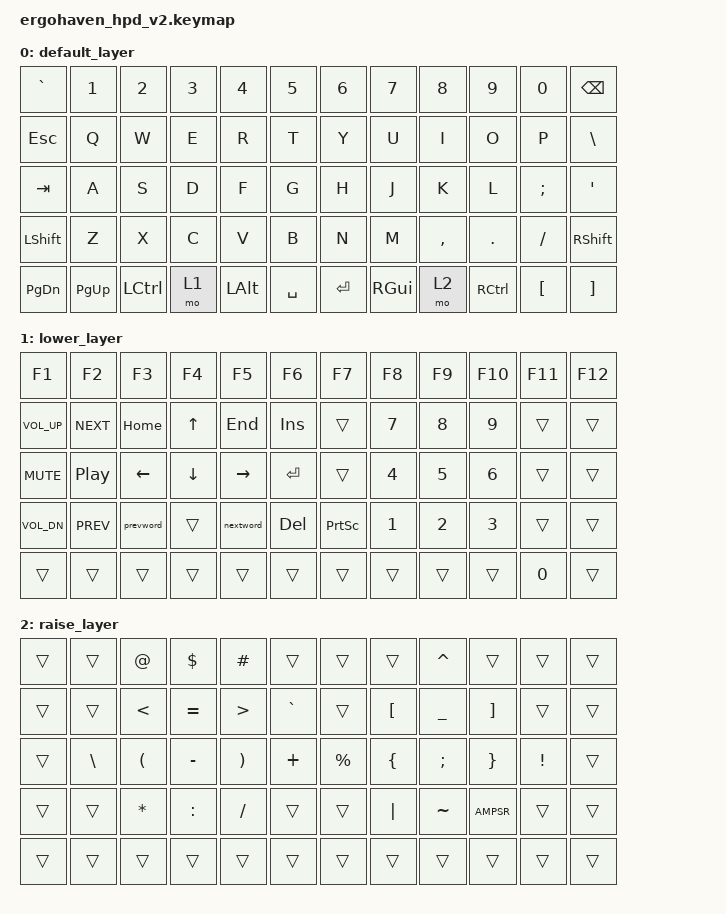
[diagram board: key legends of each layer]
#include <dt-bindings/zmk/keys.h>
#include <behaviors.dtsi>

/ {
    // --- Кастомные макросы для замены PREVWRD и NEXTWRD из QMK ---
    macros {
        prevword: prevword {
            compatible = "zmk,behavior-macro";
            #binding-cells = <0>;
            bindings = <&macro_press &kp LCTRL>, <&macro_tap &kp LEFT>, <&macro_release &kp LCTRL>;
            wait-ms = <5>;
            tap-ms = <5>;
        };
        
        nextword: nextword {
            compatible = "zmk,behavior-macro";
            #binding-cells = <0>;
            bindings = <&macro_press &kp LCTRL>, <&macro_tap &kp RIGHT>, <&macro_release &kp LCTRL>;
            wait-ms = <5>;
            tap-ms = <5>;
        };
    };

    keymap {
        compatible = "zmk,keymap";

        // --- Слой 0: BASE ---
        default_layer {
            bindings = <
                &kp GRAVE  &kp N1    &kp N2    &kp N3    &kp N4    &kp N5      &kp N6    &kp N7    &kp N8    &kp N9    &kp N0    &kp BSPC
                &kp ESC    &kp Q     &kp W     &kp E     &kp R     &kp T       &kp Y     &kp U     &kp I     &kp O     &kp P     &kp BSLH
                &kp TAB    &kp A     &kp S     &kp D     &kp F     &kp G       &kp H     &kp J     &kp K     &kp L     &kp SEMI  &kp SQT
                &kp LSHIFT &kp Z     &kp X     &kp C     &kp V     &kp B       &kp N     &kp M     &kp COMMA &kp DOT   &kp FSLH  &kp RSHIFT
                &kp PG_DN  &kp PG_UP &kp LCTRL &mo 1     &kp LALT  &kp SPACE   &kp RET   &kp RGUI  &mo 2     &kp RCTRL &kp LBKT  &kp RBKT
            >;
        };

        // --- Слой 1: LOWER ---
        lower_layer {
            bindings = <
                &kp F1       &kp F2       &kp F3       &kp F4       &kp F5       &kp F6        &kp F7       &kp F8       &kp F9       &kp F10      &kp F11      &kp F12
                &kp C_VOL_UP &kp C_NEXT   &kp HOME     &kp UP       &kp END      &kp INS       &trans       &kp N7       &kp N8       &kp N9       &trans       &trans
                &kp C_MUTE   &kp C_PLAY_PAUSE &kp LEFT &kp DOWN     &kp RIGHT    &kp RET       &trans       &kp N4       &kp N5       &kp N6       &trans       &trans
                &kp C_VOL_DN &kp C_PREV   &prevword    &trans       &nextword    &kp DEL       &kp PSCRN    &kp N1       &kp N2       &kp N3       &trans       &trans
                &trans       &trans       &trans       &trans       &trans       &trans        &trans       &trans       &trans       &trans       &kp N0       &trans
            >;
        };

        // --- Слой 2: RAISE ---
        raise_layer {
            bindings = <
                &trans       &trans       &kp AT       &kp DLLR     &kp HASH     &trans        &trans       &trans       &kp CARET    &trans       &trans       &trans
                &trans       &trans       &kp LT       &kp EQUAL    &kp GT       &kp GRAVE     &trans       &kp LBKT     &kp UNDER    &kp RBKT     &trans       &trans
                &trans       &kp BSLH     &kp LPAR     &kp MINUS    &kp RPAR     &kp PLUS      &kp PERCENT  &kp LBRC     &kp SEMI     &kp RBRC     &kp EXCL     &trans
                &trans       &trans       &kp STAR     &kp COLON    &kp FSLH     &trans        &trans       &kp PIPE     &kp TILDE    &kp AMPSR    &trans       &trans
                &trans       &trans       &trans       &trans       &trans       &trans        &trans       &trans       &trans       &trans       &trans       &trans
            >;
        };
    };
};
